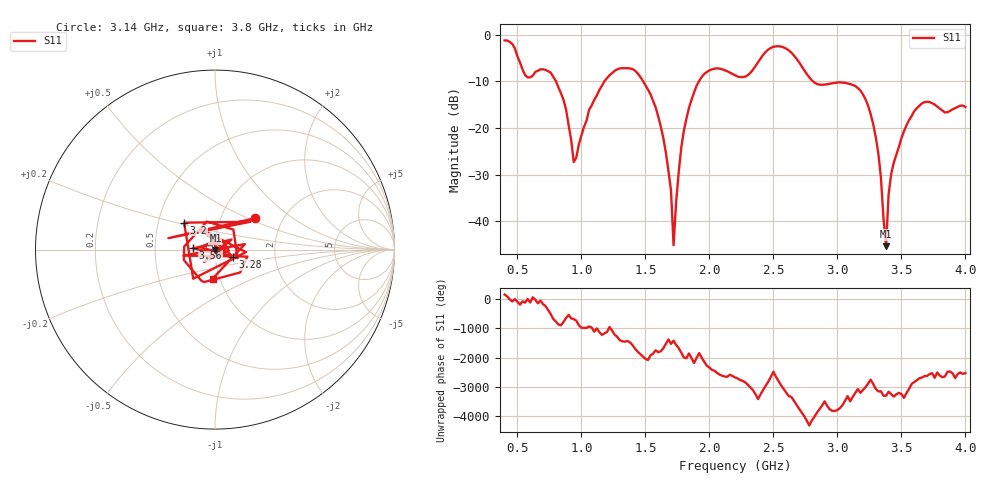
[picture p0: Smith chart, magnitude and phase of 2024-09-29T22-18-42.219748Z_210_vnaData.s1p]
!Created with skrf (http://scikit-rf.org).
# Hz S RI R 50.0
!freq ReS11 ImS11
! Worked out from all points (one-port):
!   181 points, 400 MHz to 4 GHz, reference 50 ohm
!   lowest |S11| = -45.4 dB at 3.38 GHz (marker M1), VSWR 1.01, Z = 50.2 - j0.483 ohm
!   |S11| at or under -10 dB: 801.4 MHz to 1.179 GHz (377.7 MHz wide, 38.1 % of centre); 1.483 GHz to 1.918 GHz (435.9 MHz wide, 25.6 % of centre); 2.81 GHz to end of sweep
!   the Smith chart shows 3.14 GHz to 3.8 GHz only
!   S11 on the Smith chart (normalised r, x): 3.14 GHz: 1.45, +0.55; 3.2 GHz: 0.68, +0.21; 3.28 GHz: 1.22, -0.10; 3.56 GHz: 0.78, +0.01; 3.8 GHz: 0.93, -0.31
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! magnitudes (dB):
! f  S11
! 400 MHz  -1.2
! 760 MHz  -8.1
! 860 MHz  -14.0
! 940 MHz  -27.3
! 1.06 GHz  -16.1
! 1.3 GHz  -7.2
! 1.44 GHz  -8.3
! 1.58 GHz  -15.6
! 1.7 GHz  -33.4
! 1.72 GHz  -45.2
! 1.76 GHz  -29.5
! 1.82 GHz  -18.0
! 1.92 GHz  -9.9
! 2.2 GHz  -8.7
! 2.5 GHz  -2.6
! 2.66 GHz  -4.4
! 2.84 GHz  -10.6
! 3.1 GHz  -10.6
! 3.14 GHz  -11.0
! 3.2 GHz  -12.8
! 3.28 GHz  -19.2
! 3.34 GHz  -30.6
! 3.38 GHz  -45.4
! 3.4 GHz  -34.3
! 3.42 GHz  -29.9
! 3.56 GHz  -18.3
! 3.8 GHz  -15.8
! 4 GHz  -15.5
